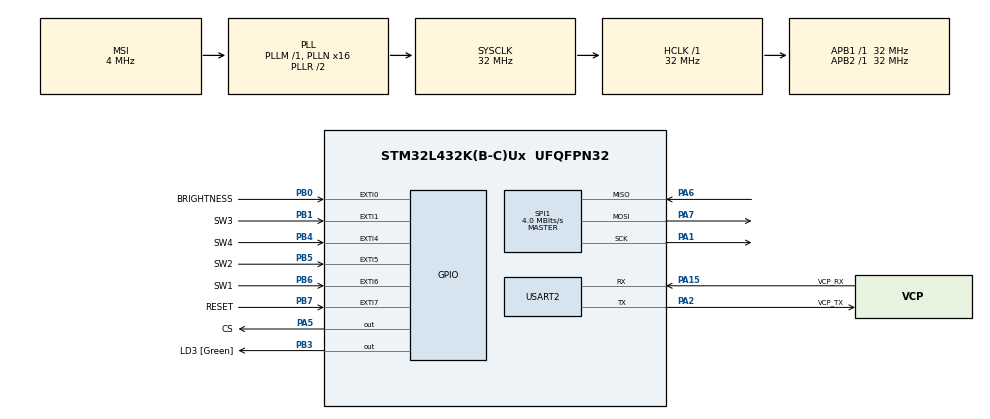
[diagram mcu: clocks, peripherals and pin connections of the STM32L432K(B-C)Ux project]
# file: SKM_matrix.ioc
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Mcu.Family=STM32L4
Mcu.Name=STM32L432K(B-C)Ux
Mcu.Package=UFQFPN32
NVIC.EXTI0_IRQn=true\:0\:0\:false\:false\:true\:true\:true\:true
NVIC.EXTI1_IRQn=true\:0\:0\:false\:false\:true\:true\:true\:true
NVIC.EXTI4_IRQn=true\:0\:0\:false\:false\:true\:true\:true\:true
NVIC.EXTI9_5_IRQn=true\:0\:0\:false\:false\:true\:true\:true\:true
NVIC.PriorityGroup=NVIC_PRIORITYGROUP_4
PA0.GPIO_Label=MCO [High speed clock in]
PA0.Mode=HSE-External-Clock-Source-for-LittleOrca
PA0.Signal=RCC_CK_IN
PA1.Mode=Full_Duplex_Master
PA1.Signal=SPI1_SCK
PA13\ (JTMS-SWDIO).GPIO_Label=SWDIO
PA13\ (JTMS-SWDIO).Mode=Serial_Wire
PA13\ (JTMS-SWDIO).Signal=SYS_JTMS-SWDIO
PA14\ (JTCK-SWCLK).GPIO_Label=SWCLK
PA14\ (JTCK-SWCLK).Mode=Serial_Wire
PA14\ (JTCK-SWCLK).Signal=SYS_JTCK-SWCLK
PA15\ (JTDI).GPIO_Label=VCP_RX
PA15\ (JTDI).Mode=Asynchronous
PA15\ (JTDI).Signal=USART2_RX
PA2.GPIO_Label=VCP_TX
PA2.Mode=Asynchronous
PA2.Signal=USART2_TX
PA5.GPIO_Label=CS
PA5.PinState=GPIO_PIN_SET
PA5.Signal=GPIO_Output
PA6.Mode=Full_Duplex_Master
PA6.Signal=SPI1_MISO
PA7.Mode=Full_Duplex_Master
PA7.Signal=SPI1_MOSI
PB0.GPIO_Label=BRIGHTNESS
PB0.GPIO_ModeDefaultEXTI=GPIO_MODE_IT_FALLING
PB0.GPIO_PuPd=GPIO_PULLUP
PB0.Signal=GPXTI0
PB1.GPIO_Label=SW3
PB1.GPIO_ModeDefaultEXTI=GPIO_MODE_IT_FALLING
PB1.GPIO_PuPd=GPIO_PULLUP
PB1.Signal=GPXTI1
PB3\ (JTDO-TRACESWO).GPIO_Label=LD3 [Green]
PB3\ (JTDO-TRACESWO).Signal=GPIO_Output
PB4\ (NJTRST).GPIO_Label=SW4
PB4\ (NJTRST).GPIO_ModeDefaultEXTI=GPIO_MODE_IT_FALLING
PB4\ (NJTRST).GPIO_PuPd=GPIO_PULLUP
PB4\ (NJTRST).Signal=GPXTI4
PB5.GPIO_Label=SW2
PB5.GPIO_ModeDefaultEXTI=GPIO_MODE_IT_FALLING
PB5.GPIO_PuPd=GPIO_PULLUP
PB5.Signal=GPXTI5
PB6.GPIO_Label=SW1
PB6.GPIO_ModeDefaultEXTI=GPIO_MODE_IT_FALLING
PB6.GPIO_PuPd=GPIO_PULLUP
PB6.Signal=GPXTI6
PB7.GPIO_Label=RESET
PB7.Signal=GPXTI7
PC14-OSC32_IN\ (PC14).Mode=LSE-External-Oscillator
PC14-OSC32_IN\ (PC14).Signal=RCC_OSC32_IN
PC15-OSC32_OUT\ (PC15).Mode=LSE-External-Oscillator
PC15-OSC32_OUT\ (PC15).Signal=RCC_OSC32_OUT
ProjectManager.HeapSize=0x200
ProjectManager.StackSize=0x400
ProjectManager.TargetToolchain=STM32CubeIDE
RCC.AHBFreq_Value=32000000
RCC.APB1Freq_Value=32000000
RCC.APB1TimFreq_Value=32000000
RCC.APB2Freq_Value=32000000
RCC.APB2TimFreq_Value=32000000
RCC.CortexFreq_Value=32000000
RCC.HCLKFreq_Value=32000000
RCC.HSE_VALUE=8000000
RCC.HSI16_VALUE=16000000
RCC.HSI48_VALUE=48000000
RCC.HSI_VALUE=16000000
RCC.MSI_VALUE=4000000
RCC.PLLMUL=RCC_PLLMUL_4
RCC.PLLN=16
RCC.SYSCLKFreq_VALUE=32000000
RCC.SYSCLKSource=RCC_SYSCLKSOURCE_PLLCLK
RCC.VCOOutputFreq_Value=64000000
SPI1.BaudRatePrescaler=SPI_BAUDRATEPRESCALER_8
SPI1.CalculateBaudRate=4.0 MBits/s
SPI1.DataSize=SPI_DATASIZE_8BIT
SPI1.Direction=SPI_DIRECTION_2LINES
SPI1.Mode=SPI_MODE_MASTER
SPI1.VirtualType=VM_MASTER
USART2.VirtualMode-Asynchronous=VM_ASYNC
board=NUCLEO-L432KC

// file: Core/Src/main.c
/* USER CODE BEGIN Header */
/**
  ******************************************************************************
  * @file           : main.c
  * @brief          : Main program body
  ******************************************************************************
  * @attention
  *
  * Copyright (c) 2024 STMicroelectronics.
  * All rights reserved.
  *
  * This software is licensed under terms that can be found in the LICENSE file
  * in the root directory of this software component.
  * If no LICENSE file comes with this software, it is provided AS-IS.
  *
  ******************************************************************************
  */
/* USER CODE END Header */
#include "main.h"
#include "spi.h"
#include "usart.h"
#include "gpio.h"

/* USER CODE BEGIN Includes */
#include <stdlib.h>
#include "MAX7219.h"
#include "MAX7219_graph.h"

/* USER CODE END Includes */

/* USER CODE BEGIN PV */

uint8_t width;
uint8_t height;
uint8_t isGameOver;

uint8_t snakeHeadX;
uint8_t snakeHeadY;

uint8_t snakeTailX[36];
uint8_t snakeTailY[36];
uint8_t snakeTailLen;

uint8_t foodX;
uint8_t foodY;

enum direction {STOP=0, LEFT, RIGHT, UP, DOWN};

enum direction dir;

volatile uint8_t brightness_cnt;

void Setup();
void Logic();
void Draw();
/* USER CODE END PV */

void SystemClock_Config(void);
/* USER CODE BEGIN PFP */
void SPI_Transmit_byte(uint8_t data);

/* USER CODE END PFP */

int main(void)
{

  /* MCU Configuration--------------------------------------------------------*/

  /* Reset of all peripherals, Initializes the Flash interface and the Systick. */
  HAL_Init();

  /* Configure the system clock */
  SystemClock_Config();

  /* Initialize all configured peripherals */
  MX_GPIO_Init();
  MX_USART2_UART_Init();
  MX_SPI1_Init();
  /* USER CODE BEGIN 2 */
  MAX7219_init();

  Setup();
  uint32_t lastMoveTime = HAL_GetTick();
  uint8_t drawFlag=0;
  /* USER CODE END 2 */

  /* Infinite loop */
  /* USER CODE BEGIN WHILE */
  while (1)
  {
	  if(!isGameOver){
	 		  	  uint32_t currentTime = HAL_GetTick();
	 		  	  if(currentTime - lastMoveTime >= 500){

	 			  Draw();
	 			  Logic();
	 			  lastMoveTime = currentTime;
	 		  }
	 	  }

	 	  if(isGameOver && !drawFlag){
	 		  for(uint8_t i=0; i<8; i++){
	 			  for(uint8_t j=0; j<8; j++){
	 				  clr_pixel(i, j);
	 			  }
	 		  }
	 		  drawFlag = 1;
	 		  if(drawFlag){
	 			  uint8_t new_matrix_buffer[] = {0x7e, 0xc1, 0xa5, 0xa1, 0xa1, 0xa5, 0xc1, 0x7e};
	 			  for(uint8_t i=0; i<8; i++){
	 				  buf[i] = new_matrix_buffer[i];
	 			  }
	 			  buf_out();
	 		  }
	 	  }
    /* USER CODE END WHILE */

  }
}

void SystemClock_Config(void)
{
  RCC_OscInitTypeDef RCC_OscInitStruct = {0};
  RCC_ClkInitTypeDef RCC_ClkInitStruct = {0};

  /** Configure the main internal regulator output voltage
  */
  if (HAL_PWREx_ControlVoltageScaling(PWR_REGULATOR_VOLTAGE_SCALE1) != HAL_OK)
  {
    Error_Handler();
  }

  /** Configure LSE Drive Capability
  */
  HAL_PWR_EnableBkUpAccess();
  __HAL_RCC_LSEDRIVE_CONFIG(RCC_LSEDRIVE_LOW);

  /** Initializes the RCC Oscillators according to the specified parameters
  * in the RCC_OscInitTypeDef structure.
  */
  RCC_OscInitStruct.OscillatorType = RCC_OSCILLATORTYPE_LSE|RCC_OSCILLATORTYPE_MSI;
  RCC_OscInitStruct.LSEState = RCC_LSE_ON;
  RCC_OscInitStruct.MSIState = RCC_MSI_ON;
  RCC_OscInitStruct.MSICalibrationValue = 0;
  RCC_OscInitStruct.MSIClockRange = RCC_MSIRANGE_6;
  RCC_OscInitStruct.PLL.PLLState = RCC_PLL_ON;
  RCC_OscInitStruct.PLL.PLLSource = RCC_PLLSOURCE_MSI;
  RCC_OscInitStruct.PLL.PLLM = 1;
  RCC_OscInitStruct.PLL.PLLN = 16;
  RCC_OscInitStruct.PLL.PLLP = RCC_PLLP_DIV7;
  RCC_OscInitStruct.PLL.PLLQ = RCC_PLLQ_DIV2;
  RCC_OscInitStruct.PLL.PLLR = RCC_PLLR_DIV2;
  if (HAL_RCC_OscConfig(&RCC_OscInitStruct) != HAL_OK)
  {
    Error_Handler();
  }

  /** Initializes the CPU, AHB and APB buses clocks
  */
  RCC_ClkInitStruct.ClockType = RCC_CLOCKTYPE_HCLK|RCC_CLOCKTYPE_SYSCLK
                              |RCC_CLOCKTYPE_PCLK1|RCC_CLOCKTYPE_PCLK2;
  RCC_ClkInitStruct.SYSCLKSource = RCC_SYSCLKSOURCE_PLLCLK;
  RCC_ClkInitStruct.AHBCLKDivider = RCC_SYSCLK_DIV1;
  RCC_ClkInitStruct.APB1CLKDivider = RCC_HCLK_DIV1;
  RCC_ClkInitStruct.APB2CLKDivider = RCC_HCLK_DIV1;

  if (HAL_RCC_ClockConfig(&RCC_ClkInitStruct, FLASH_LATENCY_1) != HAL_OK)
  {
    Error_Handler();
  }

  /** Enable MSI Auto calibration
  */
  HAL_RCCEx_EnableMSIPLLMode();
}

/* USER CODE BEGIN 4 */
void SPI_Transmit_byte(uint8_t data){
	HAL_GPIO_WritePin(CS_GPIO_Port, CS_Pin, 0);
	HAL_SPI_Transmit(&hspi1, &data, sizeof(data), HAL_MAX_DELAY);
	HAL_GPIO_WritePin(CS_GPIO_Port, CS_Pin, 1);
}

void Setup(void){
	isGameOver = 0;
	width = 8;
	height = 8;

	dir = STOP;
	snakeHeadX = width/2;
	snakeHeadY = height/2;

	srand(HAL_GetTick());
	foodX = rand() % (width-1) + 1;
	foodY = rand() % (height-1) + 1;

	draw_horizontal_line(0, 8);
	draw_vertical_line(0, 8);
	draw_horizontal_line(7, 8);
	draw_vertical_line(7, 8);

}

void Draw(){

	 for(uint8_t i=1; i<width-1; i++){
		 for(uint8_t j=1; j<height-1; j++){
			 if(i == snakeHeadX && j==snakeHeadY) set_pixel(snakeHeadX, snakeHeadY);
			 else if(i == foodX && j==foodY) set_pixel(foodX, foodY);
			 else{
				 uint8_t isSnakeTailCoord=0;
				 for(uint8_t k=0; k<snakeTailLen; k++){
					 if(snakeTailX[k]==i && snakeTailY[k]==j){
						 set_pixel(i, j);
						 isSnakeTailCoord=1;
					 }
				 }
				 if(!isSnakeTailCoord) clr_pixel(i, j);
			 }
		 }
	 }

}

void Logic(){
	uint8_t prevX = snakeTailX[0];
	uint8_t prevY = snakeTailY[0];
	uint8_t prev2X, prev2Y;

	snakeTailX[0] = snakeHeadX;
	snakeTailY[0] = snakeHeadY;

	for(uint8_t i=1; i<snakeTailLen; i++){

        prev2X = snakeTailX[i];
        prev2Y = snakeTailY[i];
        snakeTailX[i] = prevX;
        snakeTailY[i] = prevY;
        prevX = prev2X;
        prevY = prev2Y;
	}

    switch (dir)
    {
    case LEFT:
        snakeHeadX--;
        break;
    case RIGHT:
        snakeHeadX++;
        break;
    case UP:
        snakeHeadY--;
        break;
    case DOWN:
        snakeHeadY++;
        break;
    }
    if (snakeHeadX > width - 2 || snakeHeadX<1 || snakeHeadY>height - 2 || snakeHeadY < 1) isGameOver = 1;

    for (int i = 0; i < snakeTailLen; i++)
    {
        if (snakeTailX[i] == snakeHeadX && snakeTailY[i] == snakeHeadY) isGameOver = 1;
    }
    if (snakeHeadX == foodX && snakeHeadY == foodY)
    {
        snakeTailLen++;

        srand(HAL_GetTick());
        foodX = rand() % (width-2) + 1;
        foodY = rand() % (height-2) + 1;

    }
}

void HAL_GPIO_EXTI_Callback(uint16_t GPIO_Pin){
	if(GPIO_Pin == SW3_Pin){
		dir = UP;
	}
	if(GPIO_Pin == SW4_Pin){
		dir = DOWN;
	}
	if(GPIO_Pin == SW2_Pin){
		dir = LEFT;
	}
	if(GPIO_Pin == SW1_Pin){
		dir = RIGHT;
	}
	if(GPIO_Pin == BRIGHTNESS_Pin){
		brightness_cnt++;
		if(brightness_cnt>8) brightness_cnt=0;
		MAX7219_write_reg(0x0a, brightness_cnt);
	}
}

/* USER CODE END 4 */

void Error_Handler(void)
{
  __disable_irq();
  while (1)
  {
  }
}
